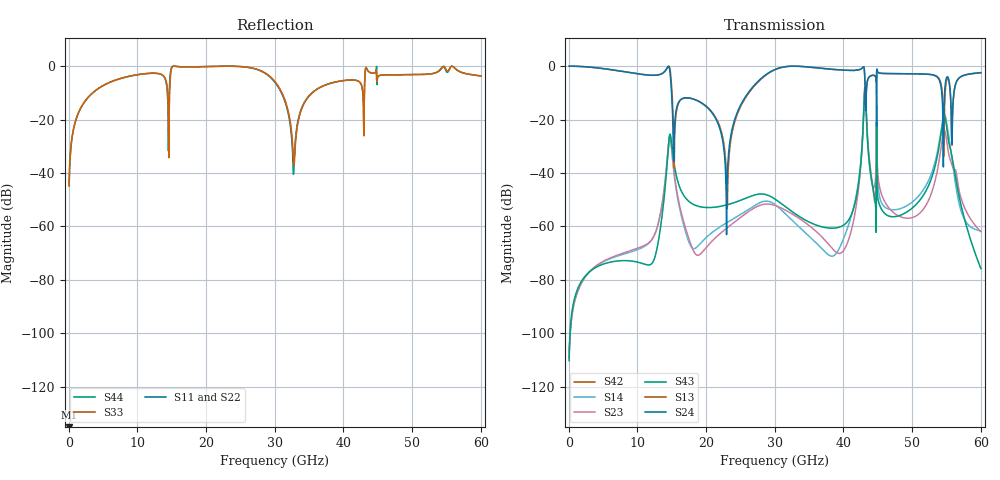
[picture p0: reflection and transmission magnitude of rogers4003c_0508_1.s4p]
! TOUCHSTONE file generated by CST MICROWAVE STUDIO
! Date and time: Wed Apr 16 11:32:47 2025
! Project name: LOSSLESS_rogers4003c_air_gapped_wideband_balanced.cst
! Parameters = {h=1; lambda=10; period=5; phi=0; theta=0; thickness=0.508; w_mesh_1=2; w_mesh_2=2; w_patch_1=1.6; w_patch_2=1.6}
! Header version: 2018
! Port assignment regex: !\s*Touchstone port\s*([0-9]+)\s*=\s*(CST MWS port|CST DS port)\s*([0-9]+|Zmin|Zmax)\s*\(\"(.*)\"\)(\s*mode\s*([0-9]+))?.*
! Touchstone port assignment:
! Touchstone port 1 = CST MWS port Zmin ("") mode 1
! Touchstone port 2 = CST MWS port Zmin ("") mode 2
! Touchstone port 3 = CST MWS port Zmax ("") mode 1
! Touchstone port 4 = CST MWS port Zmax ("") mode 2
! S-Parameters are not renormalized. Unphysical impedance of 50 will be written to the file.
# GHz S RI R 50
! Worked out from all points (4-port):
!   1003 points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, 60 MHz to 60 GHz, reference per port
!   strongest paths, dB at 60 MHz, 15 GHz, 30 GHz, 45 GHz, 60 GHz:
!     S24: 0.0, -11.2, -1.3, -2.2, -2.4
!     S13: 0.0, -8.5, -1.4, -2.3, -2.4
!     S43: -110.3, -29.3, -49.7, -49.5, -75.8
!     S23: -109.1, -31.2, -52.1, -40.2, -61.9
!     S14: -107.2, -31.5, -51.7, -43.2, -61.7
!     S42: -, -, -, -, -
!   lowest |S11| = - dB at 60 MHz (marker M1), VSWR 1.00
!   |S11| at or under -10 dB: start of sweep to end of sweep
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0.06  0 0  0 0  0.9999 -0.00573  1.43e-06 -4.11e-06
      0 0  0 0  -3.55e-07 -3.5e-06  0.9999 -0.00574
      0 0  0 0  -2.51e-05 -0.00573  1.76e-06 -2.21e-06
      0 0  0 0  -3.21e-07 -3.05e-06  -4.01e-05 -0.00575
14.76  0 0  0 0  -0.7286 -0.4455  0.00736 0.0478
       0 0  0 0  0.0101 0.0476  -0.6951 -0.2579
       0 0  0 0  0.2517 -0.4499  -0.0183 -0.0502
       0 0  0 0  -0.0183 -0.0501  0.2062 -0.6346
23.04  0 0  0 0  0.000258 -0.00216  -0.00013 0.00117
       0 0  0 0  -0.000186 0.000917  -0.00122 0.00507
       0 0  0 0  -0.979 -0.2026  -0.000478 0.00248
       0 0  0 0  -0.000514 0.00248  -0.9814 -0.1917
39.66  0 0  0 0  0.7488 -0.3996  -0.000416 0.000197
       0 0  0 0  0.000259 -0.000187  0.7468 -0.4016
       0 0  0 0  -0.2514 -0.4654  0.00083 -0.000592
       0 0  0 0  0.000815 -0.000573  -0.2512 -0.467
43.14  0 0  0 0  -0.1664 -0.4173  -0.0682 -0.3698
       0 0  0 0  -0.0814 -0.3997  -0.1693 -0.4254
       0 0  0 0  0.4368 -0.5426  0.0745 0.3754
       0 0  0 0  0.0745 0.3754  0.4332 -0.5611
54.72  0 0  0 0  0.1804 0.0477  -0.1289 -0.00767
       0 0  0 0  -0.0614 0.0125  0.3181 0.0445
       0 0  0 0  -0.1516 0.9612  -0.1147 0.0115
       0 0  0 0  -0.114 0.0122  -0.0196 0.9303
60  0 0  0 0  0.6129 -0.44  0.000177 0.000799
    0 0  0 0  0.000686 0.000411  0.6121 -0.4438
    0 0  0 0  -0.3908 -0.5273  0.000142 -9.47e-05
    0 0  0 0  0.000122 -0.000107  -0.3903 -0.5254
